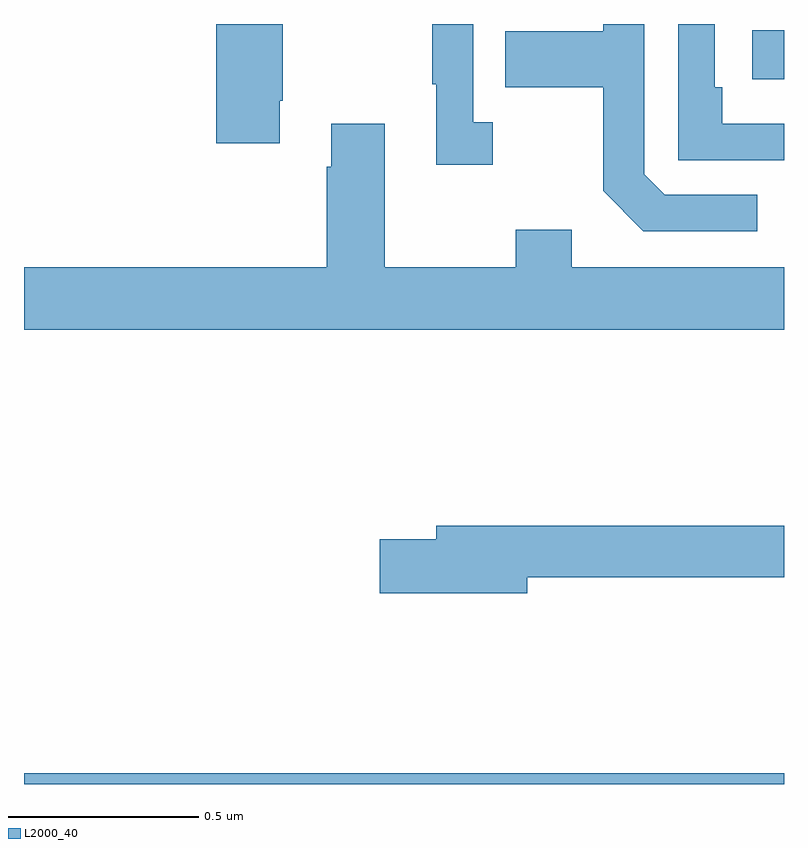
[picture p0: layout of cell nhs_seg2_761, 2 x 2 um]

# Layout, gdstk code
import gdstk
lib = gdstk.Library(unit=1e-6, precision=1e-09)
def R(c, l, rs):  # rectangles x0, y0, x1, y1
    for r in rs: c.add(gdstk.rectangle(r[:2], r[2:], *l))
def P(c, l, *ps):  # polygons
    for p in ps: c.add(gdstk.Polygon(p, *l))
L2000_40 = (2000, 40)

nhs_seg2_761 = lib.new_cell('nhs_seg2_761')
R(nhs_seg2_761, L2000_40, [(120,619.8,122,619.828), (121.917,621.654,122,621.784)])
P(nhs_seg2_761, L2000_40, [(122,621.537),(121.838,621.537),(121.838,621.634),(121.818,621.634),(121.818,621.8),(121.722,621.8),(121.722,621.441),(122,621.441)],
  [(121.234,621.542),(121.182,621.542),(121.182,621.8),(121.074,621.8),(121.074,621.641),(121.085,621.641),(121.085,621.429),(121.234,621.429)],
  [(120.673,621.598),(120.681,621.598),(120.681,621.8),(120.506,621.8),(120.506,621.486),(120.673,621.486)],
  [(121.93,621.351),(121.686,621.351),(121.632,621.405),(121.632,621.8),(121.524,621.8),(121.524,621.781),(121.267,621.781),(121.267,621.634),(121.524,621.634),(121.524,621.361),(121.629,621.255),(121.93,621.255)],
  [(122,621.16),(121.441,621.16),(121.441,621.259),(121.294,621.259),(121.294,621.16),(120.949,621.16),(120.949,621.538),(120.809,621.538),(120.809,621.425),(120.797,621.425),(120.797,621.16),(120,621.16),(120,620.996),(122,620.996)],
  [(121.324,620.344),(122,620.344),(122,620.48),(121.085,620.48),(121.085,620.444),(120.936,620.444),(120.936,620.302),(121.324,620.302)])

lib.write_gds('nhs_seg2_761.gds')
